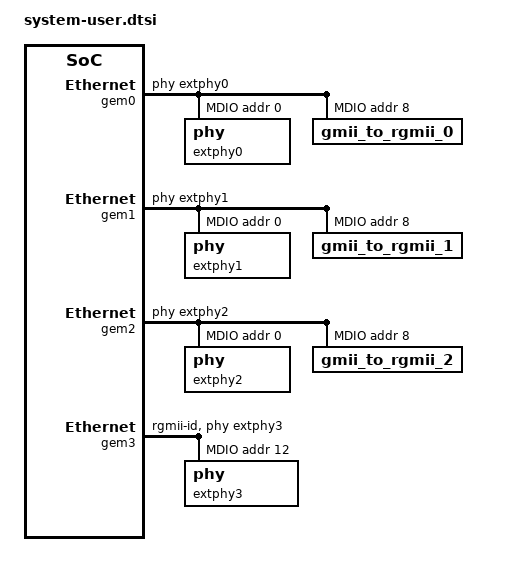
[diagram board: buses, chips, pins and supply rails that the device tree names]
/include/ "system-conf.dtsi"
/ {
};

    &gem0 {
        local-mac-address = [00 0a 35 00 01 22];
        phy-handle = <&extphy0>;
        status = "okay";
        xlnx,has-mdio = <0x1>;
        psu_ethernet_0_mdio: mdio {
                #address-cells = <1>;
                #size-cells = <0>;
                extphy0: phy@0 {
                        device_type = "ethernet-phy";
                        reg = <0>;
                };
                gmii_to_rgmii_0: gmii_to_rgmii_0@8 {
                        phy-handle = <&extphy0>;
                        reg = <8>;
                };
        };
    };  
      
    &gem1 {
        local-mac-address = [00 0a 35 00 01 23];
        phy-handle = <&extphy1>;
        status = "okay";
        xlnx,has-mdio = <0x1>;
        psu_ethernet_1_mdio: mdio {
                #address-cells = <1>;
                #size-cells = <0>;
                extphy1: phy@0 {
                        device_type = "ethernet-phy";
                        reg = <0>;
                };
                gmii_to_rgmii_1: gmii_to_rgmii_1@8 {
                        phy-handle = <&extphy1>;
                        reg = <8>;
                };
        };
    };  
      
    &gem2 {
        local-mac-address = [00 0a 35 00 01 24];
        phy-handle = <&extphy2>;
        status = "okay";
        xlnx,has-mdio = <0x1>;
        psu_ethernet_2_mdio: mdio {
                #address-cells = <1>;
                #size-cells = <0>;
                extphy2: phy@0 {
                        device_type = "ethernet-phy";
                        reg = <0>;
                };
                gmii_to_rgmii_2: gmii_to_rgmii_2@8 {
                        phy-handle = <&extphy2>;
                        reg = <8>;
                };
        };
    };  
    
    /* GEM3 may be connected to the on-board Ethernet port via MIO */

    &gem3 {
        local-mac-address = [00 0a 35 00 01 25];
        phy-handle = <&extphy3>;
        phy-mode = "rgmii-id";
        status = "okay";
        xlnx,ptp-enet-clock = <0x69f6bcb>;
        xlnx,has-mdio = <0x1>;
        psu_ethernet_3_mdio: mdio {
                #address-cells = <1>;
                #size-cells = <0>;
                extphy3: phy@0x0c {
                        reg = <0x0c>;
                        ti,rx-internal-delay = <0x8>;
                        ti,tx-internal-delay = <0xa>;
                        ti,fifo-depth = <0x1>;
                };
        };
    };  
      

